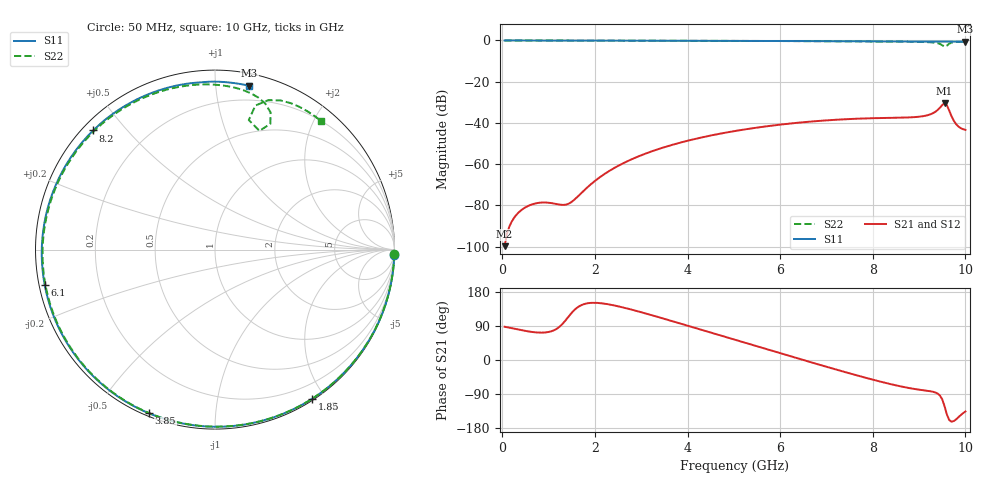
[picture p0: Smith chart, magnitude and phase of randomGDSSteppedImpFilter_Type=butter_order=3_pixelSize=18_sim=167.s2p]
! freq	dB(S11)	phase(S11)	dB(S12)	phase(S12)
!  dB(S21)	phase(S21)	dB(S22)	phase(S22)
!S-par simulation data
#  GHz  S  DB  R 50
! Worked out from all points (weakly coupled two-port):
!   200 points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, 50 MHz to 10 GHz, reference 50 ohm
!   highest |S21| = -30.49 dB at 9.55 GHz (marker M1); lowest = -99.8 dB at 50 MHz (marker M2)
!   lowest |S11| = -0.6 dB at 10 GHz (marker M3), VSWR 28.58, Z = 4.39 + j61.3 ohm
!   |S11| at or under -10 dB: nowhere
!   |S22| runs from -3.0 to 0.0 dB; largest |S21 - S12| = 0
!   S11 on the Smith chart (normalised r, x): 50 MHz: 1, -71; 1.85 GHz: 0.02, -1.84; 3.85 GHz: 0.01, -0.67; 6.1 GHz: 0.02, -0.10; 8.2 GHz: 0.03, +0.41; 10 GHz: 0.09, +1.23
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0.05  -0.00 -1.6  -99.79 87.8  -99.79 87.8  -0.00 -1.4
0.9  -0.03 -28.3  -78.60 72.4  -78.60 72.4  -0.03 -25.0
1.35  -0.05 -42.1  -79.72 102.2  -79.72 102.2  -0.05 -37.3
1.5  -0.06 -46.6  -78.27 124.7  -78.27 124.7  -0.05 -41.3
1.75  -0.07 -54.1  -73.09 146.8  -73.09 146.8  -0.06 -48.0
1.85  -0.07 -57.0  -71.00 149.8  -71.00 149.8  -0.06 -50.7
2.5  -0.09 -75.7  -60.85 141.7  -60.85 141.7  -0.09 -67.9
3.4  -0.13 -100.3  -52.48 112.2  -52.48 112.2  -0.12 -91.2
3.85  -0.14 -112.0  -49.52 96.0  -49.52 96.0  -0.14 -102.8
5.05  -0.20 -142.3  -43.83 52.3  -43.83 52.3  -0.21 -133.7
6.1  -0.27 -168.4  -40.58 14.2  -40.58 14.2  -0.29 -162.2
6.7  -0.32 176.4  -39.28 -7.3  -39.28 -7.3  -0.35 -179.8
7.45  -0.38 156.7  -38.17 -33.6  -38.17 -33.6  -0.43 155.8
8.2  -0.45 135.6  -37.61 -58.2  -37.61 -58.2  -0.54 127.8
8.35  -0.46 131.2  -37.55 -62.6  -37.55 -62.6  -0.56 121.7
9.1  -0.54 108.2  -36.68 -80.1  -36.68 -80.1  -0.76 87.8
9.45  -0.57 96.8  -32.62 -93.7  -32.62 -93.7  -1.67 68.0
9.55  -0.58 93.6  -30.49 -121.8  -30.49 -121.8  -3.02 69.5
9.6  -0.57 91.9  -31.44 -143.8  -31.44 -143.8  -2.55 75.4
9.7  -0.58 88.5  -36.71 -162.8  -36.71 -162.8  -1.07 70.4
9.85  -0.59 83.4  -41.78 -150.9  -41.78 -150.9  -0.69 59.4
10  -0.61 78.2  -43.39 -135.8  -43.39 -135.8  -0.64 50.6
